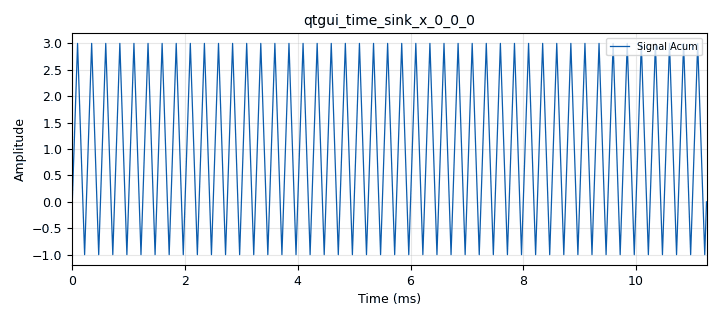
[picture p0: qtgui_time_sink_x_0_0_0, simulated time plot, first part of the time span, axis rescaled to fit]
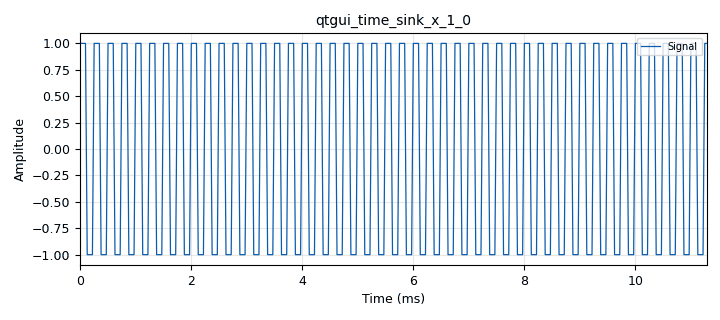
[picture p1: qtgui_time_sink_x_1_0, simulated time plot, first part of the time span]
options:
  parameters:
    generate_options: qt_gui
    id: Practica_1
    output_language: python
    title: Practica_1
  states: {}

blocks:
- name: samp_rate
  id: variable
  parameters:
    value: '32000'
  states: {}
- name: analog_fastnoise_source_x_0
  id: analog_fastnoise_source_x
  parameters:
    amp: '0'
    noise_type: analog.GR_GAUSSIAN
    samples: '8192'
    seed: '0'
    type: float
  states: {}
- name: blocks_add_xx_0
  id: blocks_add_xx
  parameters:
    type: float
  states: {state: disabled}
- name: blocks_add_xx_1
  id: blocks_add_xx
  parameters:
    type: float
  states: {}
- name: blocks_throttle2_0
  id: blocks_throttle2
  parameters:
    samples_per_second: samp_rate
    type: float
  states: {state: disabled}
- name: blocks_throttle2_1
  id: blocks_throttle2
  parameters:
    samples_per_second: samp_rate
    type: float
  states: {}
- name: blocks_vector_source_x_0
  id: blocks_vector_source_x
  parameters:
    repeat: 'True'
    tags: ''
    type: float
    vector: (1,2,-1)
  states: {state: disabled}
- name: blocks_vector_source_x_0_0
  id: blocks_vector_source_x
  parameters:
    repeat: 'True'
    type: float
    vector: (1,1,1,1,-1,-1,-1,-1)
  states: {}
- name: epy_block_0
  id: epy_block
  parameters:
    _source_code: |
      """
      Embedded Python Blocks:

      Each time this file is saved, GRC will instantiate the first class it finds
      to get ports and parameters of your block. The arguments to __init__  will
      be the parameters. All of them are required to have default values!
      """

      import numpy as np
      from gnuradio import gr


      class blk(gr.sync_block):  # other base classes are basic_block, decim_block, interp_block
          """Embedded Python Block example - a simple multiply const"""

          def __init__ ( self ) : # only default arguments here
              gr. sync_block . __init__ (
                  self ,
                  name ='e_Acum' , # will show up in GRC
                  in_sig =[ np. float32 ],
                  out_sig =[ np. float32 ]
              )

          def work (self , input_items , output_items ):
              x = input_items [0] # Senial de entrada .
              y0 = output_items [0] # Senial acumulada
              y0 [:] = np. cumsum (x)
              return len (y0)
  states: {}
- name: epy_block_1
  id: epy_block
  parameters:
    _source_code: "\nimport numpy as np\nfrom gnuradio import gr\nclass blk (gr. sync_block ):\n    def __init__ ( self ) : # only default arguments here\n        gr. sync_block . __init__ (\n            self ,\n            name = \"Promedios_de_tiempos\", # will show up in GRC\n            in_sig =[ np. float32 ],\n            out_sig =[ np. float32 ,np. float32 ,np. float32 ,np. float32 ,np. float32 ]\n        )\n        self . acum_anterior = 0\n        self . Ntotales = 0\n        self . acum_anterior1 = 0\n        self . acum_anterior2 = 0\n    def work (self , input_items , output_items ):\n        x = input_items [0] # Senial de entrada .\n        y0 = output_items [0] # Promedio de la senial\n        y1 = output_items [1] # Media de la senial\n        y2 = output_items [2] # RMS de la senial\n        y3 = output_items [3] # Potencia promedio de la senial\n        y4 = output_items [4] # Desviacion estandar de la senial\n        # Calculo del promedio\n        N = len (x)\n        self . Ntotales = self . Ntotales + N\n        acumulado = self . acum_anterior + np. cumsum (x)\n        self . acum_anterior = acumulado [N -1]\n        y0 [:]= acumulado / self . Ntotales\n        # Calculo de la media cuadratica\n        x2=np. multiply (x,x)\n        acumulado1 = self . acum_anterior1 + np. cumsum (x2)\n        self . acum_anterior1 = acumulado [N -1]\n        y1 [:] = acumulado1 / self . Ntotales\n        # Calculo de la RMS\n        y2 [:] = np. sqrt (y1)\n        # Calculo de la potencia promedio\n        y3 [:] = np. multiply (y2 ,y2)\n        # Calculo de la desviacion estandar\n        x3 = np. multiply (x-y0 ,x-y0)\n        acumulado2 = self . acum_anterior2 + np. cumsum (x3)\n        self . acum_anterior2 = acumulado2 [N -1]\n        y4 [:] = np. sqrt ( acumulado2 / self . Ntotales )\n        \n        return len (x)\n"
  states: {state: disabled}
- name: epy_block_1_0
  id: epy_block
  parameters:
    _source_code: |
      import numpy as np
      from gnuradio import gr

      class blk(gr.sync_block):
          def __init__(self):
              gr.sync_block.__init__(
                  self,
                  name='e_Diff',  # Nombre en GRC
                  in_sig=[np.float32],
                  out_sig=[np.float32]
              )
              self.ultimo_muestra = 0.0  # Guardamos la última muestra del bloque anterior

          def work(self, input_items, output_items):
              x = input_items[0]
              y = output_items[0]
              N = len(x)

              # Calculamos la diferencia entre muestras consecutivas
              # Para la primera muestra, usamos la última del bloque anterior
              y[0] = x[0] - self.ultimo_muestra

              # Para el resto, diferencia directa dentro del bloque
              if N > 1:
                  y[1:] = x[1:] - x[:-1]

              # Guardamos la última muestra para el próximo bloque
              self.ultimo_muestra = x[-1]

              return len(y)
  states: {state: disabled}
- name: qtgui_number_sink_0
  id: qtgui_number_sink
  parameters:
    graph_type: qtgui.NUM_GRAPH_HORIZ
    name: '"Potencia promedio"'
    type: float
  states: {state: disabled}
- name: qtgui_number_sink_1
  id: qtgui_number_sink
  parameters:
    graph_type: qtgui.NUM_GRAPH_HORIZ
    name: '"Media"'
    type: float
  states: {state: disabled}
- name: qtgui_number_sink_2
  id: qtgui_number_sink
  parameters:
    graph_type: qtgui.NUM_GRAPH_HORIZ
    name: '"Desviacion Estandar"'
    type: float
  states: {state: disabled}
- name: qtgui_number_sink_3
  id: qtgui_number_sink
  parameters:
    graph_type: qtgui.NUM_GRAPH_HORIZ
    name: '"RMS"'
    type: float
  states: {state: disabled}
- name: qtgui_number_sink_4
  id: qtgui_number_sink
  parameters:
    graph_type: qtgui.NUM_GRAPH_HORIZ
    name: '"Media Cuadrada"'
    type: float
  states: {state: disabled}
- name: qtgui_time_sink_x_0_0
  id: qtgui_time_sink_x
  parameters:
    label1: Signal Diff
    size: '1024'
    srate: samp_rate
    type: float
  states: {state: disabled}
- name: qtgui_time_sink_x_0_0_0
  id: qtgui_time_sink_x
  parameters:
    label1: Signal Acum
    size: '1024'
    srate: samp_rate
    type: float
  states: {}
- name: qtgui_time_sink_x_1_0
  id: qtgui_time_sink_x
  parameters:
    autoscale: 'True'
    label1: 'Signal '
    size: '1024'
    srate: samp_rate
    type: float
  states: {}

connections:
- [analog_fastnoise_source_x_0, '0', blocks_add_xx_0, '0']
- [analog_fastnoise_source_x_0, '0', blocks_add_xx_1, '0']
- [blocks_add_xx_0, '0', epy_block_1_0, '0']
- [blocks_add_xx_1, '0', epy_block_0, '0']
- [blocks_throttle2_0, '0', qtgui_time_sink_x_0_0, '0']
- [blocks_throttle2_1, '0', qtgui_time_sink_x_0_0_0, '0']
- [blocks_vector_source_x_0, '0', epy_block_1, '0']
- [blocks_vector_source_x_0_0, '0', blocks_add_xx_0, '1']
- [blocks_vector_source_x_0_0, '0', blocks_add_xx_1, '1']
- [blocks_vector_source_x_0_0, '0', qtgui_time_sink_x_1_0, '0']
- [epy_block_0, '0', blocks_throttle2_1, '0']
- [epy_block_1, '0', qtgui_number_sink_1, '0']
- [epy_block_1, '1', qtgui_number_sink_4, '0']
- [epy_block_1, '2', qtgui_number_sink_3, '0']
- [epy_block_1, '3', qtgui_number_sink_0, '0']
- [epy_block_1, '4', qtgui_number_sink_2, '0']
- [epy_block_1_0, '0', blocks_throttle2_0, '0']

metadata:
  file_format: 1
  grc_version: v3.10.11.0-89-ga17f69e7
